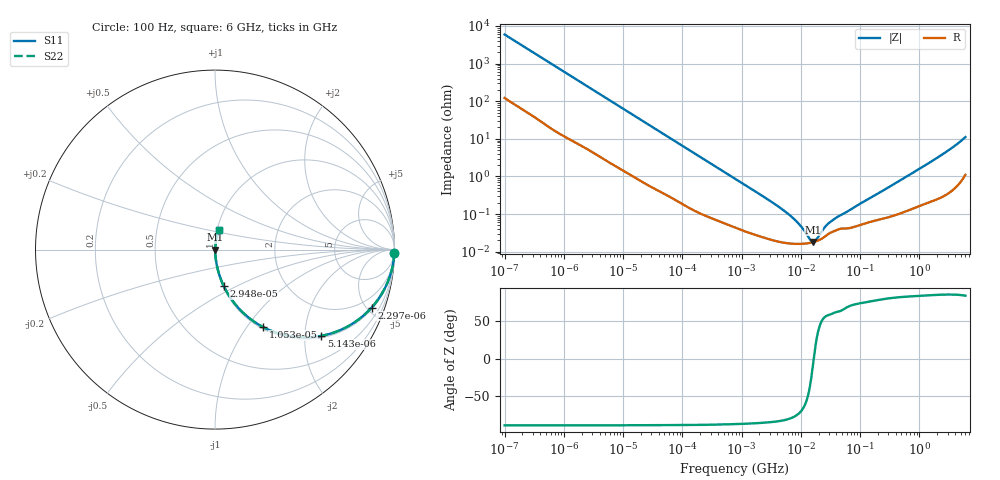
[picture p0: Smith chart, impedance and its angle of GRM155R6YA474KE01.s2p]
!Murata Part Number: GRM155R6YA474KE01
!These Parameters are Measured in Series Mode Connection
!Data Generated on Mar 30, 2021
!  o--ll--o
!Port1  Port2
!  o------o
!Operation Temp=25[degC], DC Bias Voltage=0[V]
!Freq. Start=100[Hz] Stop=6[GHz] 401[Steps]
# Hz S RI R 50
!Freq.(Hz) S11(Real) S11(Imag) S21(Real) S21(Imag) S12(Real) S12(Imag) S22(Real) S22(Imag)
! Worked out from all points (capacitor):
!   401 points, 100 Hz to 6 GHz, reference 50 ohm
!   read as one part in series: C = 268 nF near 109 Hz
!   lowest |Z| = 18.1 mohm at 16.27 MHz (marker M1)
!   series resonance near 16.54 MHz, so ESL is about 350 pH
!   S11 on the Smith chart (normalised r, x): 100 Hz: open; 2.297 kHz: 1.11, -5.35; 5.143 kHz: 1.05, -2.42; 10.53 kHz: 1.03, -1.19; 29.48 kHz: 1.01, -0.43; 6 GHz: 1.02, +0.22
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100  0.9994 -0.0169  0.000632 0.0169  0.000632 0.0169  0.9994 -0.0169
600  0.9885 -0.0977  0.0115 0.0977  0.0115 0.0977  0.9885 -0.0977
2008  0.8983 -0.2918  0.1017 0.2918  0.1017 0.2918  0.8983 -0.2918
2297  0.8723 -0.3231  0.1277 0.3231  0.1277 0.3231  0.8723 -0.3231
3437  0.7594 -0.4167  0.2406 0.4167  0.2406 0.4167  0.7594 -0.4167
5143  0.592 -0.4806  0.408 0.4806  0.408 0.4806  0.592 -0.4806
10527  0.2674 -0.4313  0.7326 0.4313  0.7326 0.4313  0.2674 -0.4313
17227  0.1246 -0.3188  0.8754 0.3188  0.8754 0.3188  0.1246 -0.3188
29482  0.0493 -0.2045  0.9507 0.2045  0.9507 0.2045  0.0493 -0.2045
40335  0.0284 -0.1536  0.9716 0.1536  0.9716 0.1536  0.0284 -0.1536
129199  0.00401 -0.0503  0.996 0.0503  0.996 0.0503  0.00401 -0.0503
774597  0.000513 -0.00869  0.9995 0.00869  0.9995 0.00869  0.000513 -0.00869
6075234  0.000169 -0.00101  0.9998 0.00101  0.9998 0.00101  0.000169 -0.00101
9506416  0.000162 -0.000501  0.9998 0.000501  0.9998 0.000501  0.000162 -0.000501
1.555665e7  0.000177 -5.27e-05  0.9998 5.27e-05  0.9998 5.27e-05  0.000177 -5.27e-05
1.626902e7  0.00018 -1.41e-05  0.9998 1.41e-05  0.9998 1.41e-05  0.00018 -1.41e-05
1.86079e7  0.000192 0.000102  0.9998 -0.000102  0.9998 -0.000102  0.000192 0.000102
2.662322e7  0.000267 0.000412  0.9997 -0.000412  0.9997 -0.000412  0.000267 0.000412
3.330331e7  0.000332 0.000575  0.9997 -0.000575  0.9997 -0.000575  0.000332 0.000575
3.124326e8  0.000866 0.00523  0.9991 -0.00523  0.9991 -0.00523  0.000866 0.00523
2.142435e9  0.0037 0.0332  0.9963 -0.0332  0.9963 -0.0332  0.0037 0.0332
6e9  0.0227 0.1072  0.9773 -0.1072  0.9773 -0.1072  0.0227 0.1072
